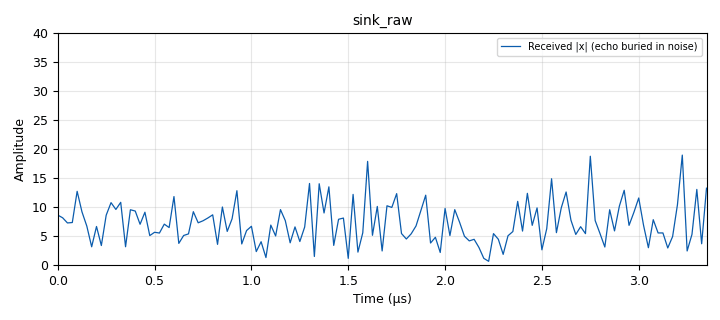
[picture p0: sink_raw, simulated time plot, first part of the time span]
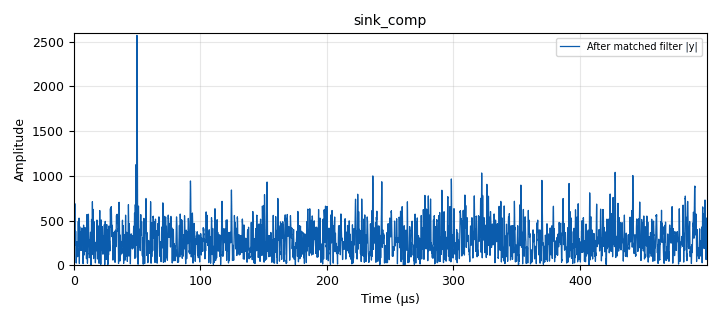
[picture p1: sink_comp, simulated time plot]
options:
  parameters:
    generate_options: qt_gui
    id: pulse_compression
    output_language: python
    title: Pulse compression
  states: {}

blocks:
- name: import_0
  id: import
  parameters:
    imports: import numpy as np
  states: {}
- name: samp_rate
  id: variable
  parameters:
    value: 40e6
  states: {}
- name: B
  id: variable
  parameters:
    value: 2e6
  states: {}
- name: T
  id: variable
  parameters:
    value: '50e-6'
  states: {}
- name: N
  id: variable
  parameters:
    value: int(T*samp_rate)
  states: {}
- name: period
  id: variable
  parameters:
    value: 10*N
  states: {}
- name: chirp
  id: variable
  parameters:
    value: np.exp(1j*np.pi*(B/T)*((np.arange(N)-N/2)/samp_rate)**2).astype(np.complex64)
  states: {}
- name: taps
  id: variable
  parameters:
    value: np.conj(chirp[::-1]).astype(np.complex64)
  states: {}
- name: pulse_train
  id: variable
  parameters:
    value: np.concatenate([chirp, np.zeros(period-N, np.complex64)])
  states: {}
- name: snr_B_dB
  id: variable_qtgui_range
  parameters:
    gui_hint: 2,0,1,1
    label: Input SNR in B (dB)
    start: '-25'
    step: '0.5'
    stop: '10'
    value: '-5'
  states: {}
- name: noise_amp
  id: variable
  parameters:
    value: np.sqrt(samp_rate/B*10**(-snr_B_dB/10))
  states: {}
- name: src
  id: blocks_vector_source_x
  parameters:
    repeat: 'True'
    type: complex
    vector: pulse_train.tolist()
  states: {}
- name: noise
  id: analog_noise_source_x
  parameters:
    amp: noise_amp
    noise_type: analog.GR_GAUSSIAN
    seed: '42'
    type: complex
  states: {}
- name: add
  id: blocks_add_xx
  parameters:
    type: complex
  states: {}
- name: throttle
  id: blocks_throttle
  parameters:
    samples_per_second: samp_rate
    type: complex
  states: {}
- name: fir
  id: fir_filter_xxx
  parameters:
    decim: '1'
    taps: taps
    type: ccc
  states: {}
- name: mag_raw
  id: blocks_complex_to_mag
  parameters: {}
  states: {}
- name: mag
  id: blocks_complex_to_mag
  parameters: {}
  states: {}
- name: sink_raw
  id: qtgui_time_sink_x
  parameters:
    grid: 'True'
    gui_hint: 0,0,1,1
    label1: Received |x| (echo buried in noise)
    size: period
    srate: samp_rate
    type: float
    ymax: '40'
    ymin: '0'
  states: {}
- name: sink_comp
  id: qtgui_time_sink_x
  parameters:
    grid: 'True'
    gui_hint: 1,0,1,1
    label1: After matched filter |y|
    size: period
    srate: samp_rate
    type: float
    ymax: N*1.3
    ymin: '0'
  states: {}

connections:
- [src, '0', add, '0']
- [noise, '0', add, '1']
- [add, '0', throttle, '0']
- [throttle, '0', fir, '0']
- [throttle, '0', mag_raw, '0']
- [fir, '0', mag, '0']
- [mag_raw, '0', sink_raw, '0']
- [mag, '0', sink_comp, '0']

metadata:
  file_format: 1
  grc_version: 3.10.9.2
